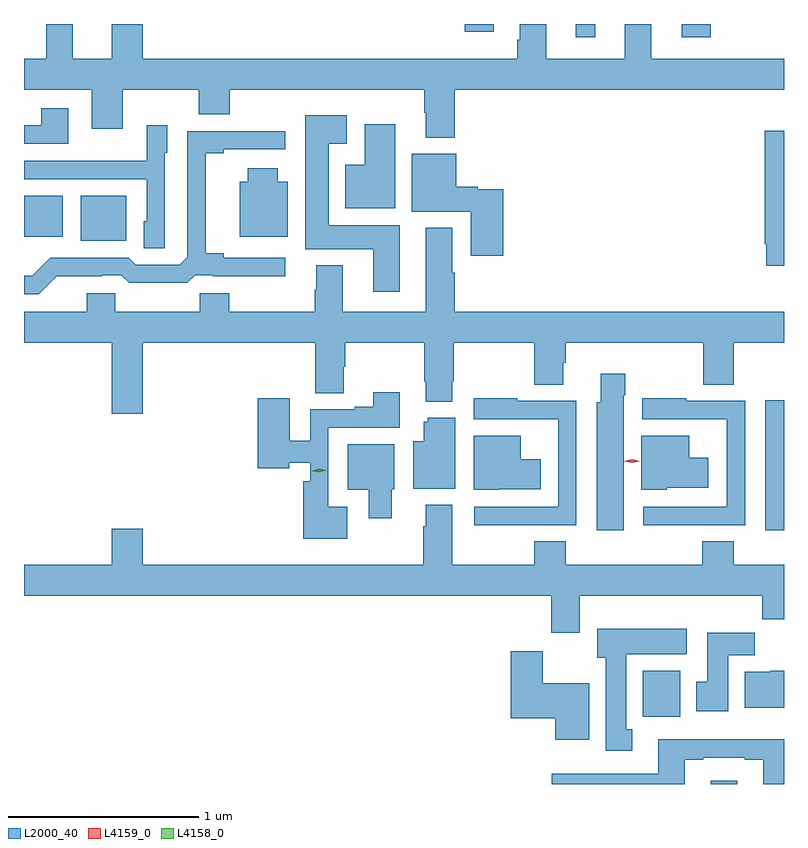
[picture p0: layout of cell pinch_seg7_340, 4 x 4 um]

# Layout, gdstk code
import gdstk
lib = gdstk.Library(unit=1e-6, precision=1e-09)
def R(c, l, rs):  # rectangles x0, y0, x1, y1
    for r in rs: c.add(gdstk.rectangle(r[:2], r[2:], *l))
def P(c, l, *ps):  # polygons
    for p in ps: c.add(gdstk.Polygon(p, *l))
L2000_40 = (2000, 40)
L4158_0 = (4158, 0)
L4159_0 = (4159, 0)

pinch_seg7_340 = lib.new_cell('pinch_seg7_340')
R(pinch_seg7_340, L2000_40, [(467.861,1020.938,468.001,1020.955), (467.504,1021.292,467.701,1021.534), (468.149,1022.274,468.247,1022.959), (464.546,1023.797,464.785,1024.033), (464.247,1023.818,464.452,1024.033), (467.15,1024.869,467.254,1024.938), (467.708,1024.869,467.861,1024.938), (466.568,1024.896,466.72,1024.938)])
P(pinch_seg7_340, L2000_40, [(466.514,1024.592),(468.247,1024.592),(468.247,1024.756),(467.548,1024.756),(467.548,1024.938),(467.408,1024.938),(467.408,1024.756),(466.996,1024.756),(466.996,1024.938),(466.856,1024.938),(466.856,1024.854),(466.844,1024.854),(466.844,1024.756),(464.872,1024.756),(464.872,1024.938),(464.708,1024.938),(464.708,1024.756),(464.503,1024.756),(464.503,1024.938),(464.363,1024.938),(464.363,1024.756),(464.247,1024.756),(464.247,1024.592),(464.603,1024.592),(464.603,1024.386),(464.767,1024.386),(464.767,1024.592),(465.167,1024.592),(465.167,1024.464),(465.331,1024.464),(465.331,1024.592),(466.354,1024.592),(466.354,1024.472),(466.361,1024.472),(466.361,1024.34),(466.514,1024.34)],
  [(464.479,1024.495),(464.339,1024.495),(464.339,1024.404),(464.247,1024.404),(464.247,1024.308),(464.479,1024.308)],
  [(466.225,1023.88),(465.85,1023.88),(465.85,1024.307),(465.946,1024.307),(465.946,1024.459),(465.728,1024.459),(465.728,1023.752),(466.085,1023.752),(466.085,1023.528),(466.225,1023.528)],
  [(466.201,1024.411),(466.04,1024.411),(466.04,1024.198),(465.938,1024.198),(465.938,1023.968),(466.201,1023.968)],
  [(464.988,1024.26),(465.001,1024.26),(465.001,1024.405),(464.892,1024.405),(464.892,1024.219),(464.575,1024.219),(464.575,1024.218),(464.247,1024.218),(464.247,1024.122),(464.892,1024.122),(464.892,1023.9),(464.876,1023.9),(464.876,1023.757),(464.988,1023.757)],
  [(468.247,1024.376),(468.145,1024.376),(468.145,1023.778),(468.153,1023.778),(468.153,1023.666),(468.247,1023.666)],
  [(464.42,1023.611),(464.66,1023.611),(464.66,1023.615),(464.76,1023.615),(464.8,1023.576),(465.107,1023.576),(465.147,1023.615),(465.241,1023.615),(465.241,1023.611),(465.622,1023.611),(465.622,1023.708),(465.298,1023.708),(465.298,1023.731),(465.203,1023.731),(465.203,1024.258),(465.298,1024.258),(465.298,1024.278),(465.622,1024.278),(465.622,1024.374),(465.105,1024.374),(465.105,1023.711),(465.066,1023.672),(464.835,1023.672),(464.799,1023.708),(464.385,1023.708),(464.291,1023.614),(464.247,1023.614),(464.247,1023.516),(464.325,1023.516)],
  [(466.769,1024.069),(466.635,1024.069),(466.635,1024.082),(466.522,1024.082),(466.522,1024.255),(466.289,1024.255),(466.289,1023.95),(466.598,1023.95),(466.598,1023.717),(466.769,1023.717)],
  [(465.634,1024.108),(465.583,1024.108),(465.583,1024.18),(465.425,1024.18),(465.425,1024.108),(465.383,1024.108),(465.383,1023.818),(465.634,1023.818)],
  [(465.779,1022.995),(465.931,1022.995),(465.931,1023.134),(465.939,1023.134),(465.939,1023.26),(466.354,1023.26),(466.354,1023.058),(466.361,1023.058),(466.361,1022.951),(466.501,1022.951),(466.501,1023.058),(466.509,1023.058),(466.509,1023.26),(466.933,1023.26),(466.933,1023.04),(467.086,1023.04),(467.086,1023.156),(467.099,1023.156),(467.099,1023.26),(467.821,1023.26),(467.821,1023.04),(467.982,1023.04),(467.982,1023.26),(468.247,1023.26),(468.247,1023.424),(466.514,1023.424),(466.514,1023.629),(466.501,1023.629),(466.501,1023.865),(466.361,1023.865),(466.361,1023.424),(465.925,1023.424),(465.925,1023.667),(465.785,1023.667),(465.785,1023.54),(465.778,1023.54),(465.778,1023.424),(465.327,1023.424),(465.327,1023.522),(465.172,1023.522),(465.172,1023.424),(464.727,1023.424),(464.727,1023.522),(464.576,1023.522),(464.576,1023.424),(464.247,1023.424),(464.247,1023.26),(464.708,1023.26),(464.708,1022.886),(464.872,1022.886),(464.872,1023.26),(465.779,1023.26)],
  [(467.404,1022.984),(467.412,1022.984),(467.412,1023.097),(467.282,1023.097),(467.282,1022.946),(467.261,1022.946),(467.261,1022.274),(467.404,1022.274)],
  [(465.949,1022.398),(465.849,1022.398),(465.849,1022.814),(466.225,1022.814),(466.225,1023.001),(466.085,1023.001),(466.085,1022.923),(465.989,1022.923),(465.989,1022.91),(465.753,1022.91),(465.753,1022.744),(465.646,1022.744),(465.646,1022.968),(465.476,1022.968),(465.476,1022.6),(465.642,1022.6),(465.642,1022.628),(465.753,1022.628),(465.753,1022.532),(465.716,1022.532),(465.716,1022.228),(465.949,1022.228)],
  [(466.844,1022.301),(467.154,1022.301),(467.154,1022.955),(466.844,1022.955),(466.844,1022.968),(466.614,1022.968),(466.614,1022.859),(467.057,1022.859),(467.057,1022.858),(467.058,1022.858),(467.058,1022.397),(466.617,1022.397),(466.617,1022.3),(466.844,1022.3)],
  [(467.732,1022.301),(468.042,1022.301),(468.042,1022.955),(467.732,1022.955),(467.732,1022.968),(467.502,1022.968),(467.502,1022.859),(467.945,1022.859),(467.945,1022.858),(467.946,1022.858),(467.946,1022.397),(467.505,1022.397),(467.505,1022.3),(467.732,1022.3)],
  [(466.516,1022.866),(466.371,1022.866),(466.371,1022.844),(466.352,1022.844),(466.352,1022.743),(466.295,1022.743),(466.295,1022.492),(466.516,1022.492)],
  [(467.631,1022.498),(467.848,1022.498),(467.848,1022.656),(467.749,1022.656),(467.749,1022.77),(467.495,1022.77),(467.495,1022.486),(467.631,1022.486)],
  [(466.743,1022.489),(466.966,1022.489),(466.966,1022.647),(466.861,1022.647),(466.861,1022.77),(466.613,1022.77),(466.613,1022.486),(466.743,1022.486)],
  [(466.183,1022.49),(466.195,1022.49),(466.195,1022.725),(465.95,1022.725),(465.95,1022.486),(466.061,1022.486),(466.061,1022.337),(466.183,1022.337)],
  [(467.173,1021.928),(468.133,1021.928),(468.133,1021.804),(468.247,1021.804),(468.247,1022.092),(467.982,1022.092),(467.982,1022.216),(467.816,1022.216),(467.816,1022.092),(467.099,1022.092),(467.099,1022.216),(466.933,1022.216),(466.933,1022.092),(466.501,1022.092),(466.501,1022.407),(466.361,1022.407),(466.361,1022.294),(466.349,1022.294),(466.349,1022.092),(464.872,1022.092),(464.872,1022.281),(464.708,1022.281),(464.708,1022.092),(464.247,1022.092),(464.247,1021.928),(467.021,1021.928),(467.021,1021.734),(467.173,1021.734)],
  [(467.449,1021.226),(467.416,1021.226),(467.416,1021.622),(467.734,1021.622),(467.734,1021.756),(467.264,1021.756),(467.264,1021.602),(467.309,1021.602),(467.309,1021.113),(467.449,1021.113)],
  [(467.953,1021.616),(468.092,1021.616),(468.092,1021.735),(467.843,1021.735),(467.843,1021.476),(467.786,1021.476),(467.786,1021.32),(467.953,1021.32)],
  [(467.221,1021.468),(466.978,1021.468),(466.978,1021.636),(466.808,1021.636),(466.808,1021.283),(467.042,1021.283),(467.042,1021.172),(467.221,1021.172)],
  [(468.247,1021.534),(468.174,1021.534),(468.174,1021.528),(468.041,1021.528),(468.041,1021.34),(468.247,1021.34)],
  [(467.725,1021.065),(467.821,1021.065),(467.821,1021.077),(468.041,1021.077),(468.041,1021.065),(468.137,1021.065),(468.137,1020.938),(468.247,1020.938),(468.247,1021.174),(467.585,1021.174),(467.585,1020.993),(467.025,1020.993),(467.025,1020.938),(467.725,1020.938)])
P(pinch_seg7_340, L4158_0, [(465.802,1022.578),(465.766,1022.585),(465.765,1022.585),(465.766,1022.586),(465.801,1022.598),(465.838,1022.59),(465.838,1022.59),(465.838,1022.589)])
P(pinch_seg7_340, L4159_0, [(467.448,1022.628),(467.407,1022.638),(467.407,1022.638),(467.407,1022.638),(467.448,1022.648),(467.489,1022.638),(467.489,1022.638),(467.489,1022.638)])

lib.write_gds('pinch_seg7_340.gds')
